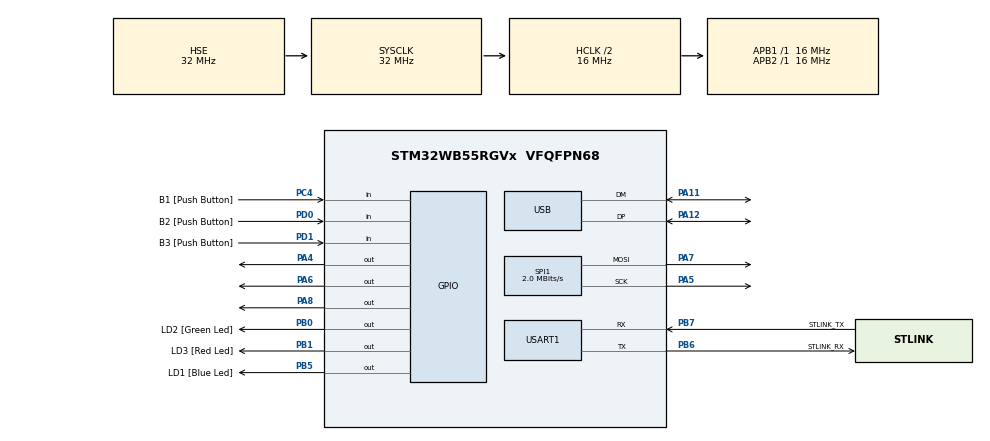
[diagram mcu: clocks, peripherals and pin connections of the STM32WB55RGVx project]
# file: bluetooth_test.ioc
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Mcu.Family=STM32WB
Mcu.Name=STM32WB55RGVx
Mcu.Package=VFQFPN68
NVIC.PriorityGroup=NVIC_PRIORITYGROUP_4
NVIC.RTC_WKUP_IRQn=true\:1\:0\:true\:true\:true\:1\:true\:true\:true
OSC_IN.Mode=HSE-External-Oscillator
OSC_IN.Signal=RCC_OSC_IN
OSC_OUT.Mode=HSE-External-Oscillator
OSC_OUT.Signal=RCC_OSC_OUT
PA11.Mode=Device
PA11.Signal=USB_DM
PA12.Mode=Device
PA12.Signal=USB_DP
PA13.GPIO_Label=JTMS
PA13.Mode=Trace_Asynchronous_SW
PA13.Signal=SYS_JTMS-SWDIO
PA14.GPIO_Label=JTCK
PA14.Mode=Trace_Asynchronous_SW
PA14.Signal=SYS_JTCK-SWCLK
PA4.Signal=GPIO_Output
PA5.Mode=TX_Only_Simplex_Unidirect_Master
PA5.Signal=SPI1_SCK
PA6.Signal=GPIO_Output
PA7.Mode=TX_Only_Simplex_Unidirect_Master
PA7.Signal=SPI1_MOSI
PA8.Signal=GPIO_Output
PB0.GPIO_Label=LD2 [Green Led]
PB0.Signal=GPIO_Output
PB1.GPIO_Label=LD3 [Red Led]
PB1.Signal=GPIO_Output
PB3.GPIO_Label=JTDO
PB3.Mode=Trace_Asynchronous_SW
PB3.Signal=SYS_JTDO-SWO
PB5.GPIO_Label=LD1 [Blue Led]
PB5.Signal=GPIO_Output
PB6.GPIO_Label=STLINK_RX
PB6.GPIO_PuPd=GPIO_PULLUP
PB6.Mode=Asynchronous
PB6.Signal=USART1_TX
PB7.GPIO_Label=STLINK_TX
PB7.GPIO_PuPd=GPIO_PULLUP
PB7.Mode=Asynchronous
PB7.Signal=USART1_RX
PC13.Mode=SYS_WakeUp1
PC13.Signal=SYS_WKUP2
PC14-OSC32_IN.Mode=LSE-External-Oscillator
PC14-OSC32_IN.Signal=RCC_OSC32_IN
PC15-OSC32_OUT.Mode=LSE-External-Oscillator
PC15-OSC32_OUT.Signal=RCC_OSC32_OUT
PC4.GPIO_Label=B1 [Push Button]
PC4.Signal=GPIO_Input
PD0.GPIO_Label=B2 [Push Button]
PD0.Signal=GPIO_Input
PD1.GPIO_Label=B3 [Push Button]
PD1.Signal=GPIO_Input
ProjectManager.HeapSize=0x200
ProjectManager.StackSize=0x400
ProjectManager.TargetToolchain=STM32CubeIDE
RCC.ADCFreq_Value=48000000
RCC.AHBCLKDivider=RCC_SYSCLK_DIV2
RCC.AHBFreq_Value=16000000
RCC.APB1Freq_Value=16000000
RCC.APB1TimFreq_Value=16000000
RCC.APB2Freq_Value=16000000
RCC.APB2TimFreq_Value=16000000
RCC.APB3Freq_Value=16000000
RCC.CortexFreq_Value=16000000
RCC.HCLKFreq_Value=16000000
RCC.HSE_VALUE=32000000
RCC.HSI48_VALUE=48000000
RCC.HSI_VALUE=16000000
RCC.LPTIM1CLockSelection=RCC_LPTIM1CLKSOURCE_LSI
RCC.LSE_Drive_Capability=RCC_LSEDRIVE_LOW
RCC.PLLN=32
RCC.PLLSAI1N=24
RCC.RTCClockSelection=RCC_RTCCLKSOURCE_LSE
RCC.SMPSCLockSelectionVirtual=RCC_SMPSCLKSOURCE_HSI
RCC.SMPSCLockSelectionVirtualVirtual=RCC_SMPSCLKSOURCE_HSI
RCC.SMPSDivider=1
RCC.SYSCLKFreq_VALUE=32000000
RCC.SYSCLKSource=RCC_SYSCLKSOURCE_HSE
RCC.USBFreq_Value=48000000
RCC.VCOOutputFreq_Value=128000000
RTC.AsynchPrediv=127
RTC.Date=31
RTC.Hours=22
RTC.Minutes=15
RTC.WakeUpClock-WakeUp=RTC_WAKEUPCLOCK_CK_SPRE_16BITS
RTC.WeekDay=RTC_WEEKDAY_WEDNESDAY
RTC.Year=24
SPI1.BaudRatePrescaler=SPI_BAUDRATEPRESCALER_8
SPI1.CLKPhase=SPI_PHASE_1EDGE
SPI1.CLKPolarity=SPI_POLARITY_LOW
SPI1.CalculateBaudRate=2.0 MBits/s
SPI1.DataSize=SPI_DATASIZE_8BIT
SPI1.Direction=SPI_DIRECTION_2LINES
SPI1.FirstBit=SPI_FIRSTBIT_MSB
SPI1.Mode=SPI_MODE_MASTER
SPI1.NSSPMode=SPI_NSS_PULSE_DISABLE
SPI1.VirtualType=VM_MASTER
USART1.VirtualMode-Asynchronous=VM_ASYNC
USART1.WordLength=WORDLENGTH_7B
VP_MEMORYMAP_VS_MEMORYMAP.Mode=CurAppReg
VP_RTC_VS_RTC_Activate.Mode=RTC_Enabled
VP_RTC_VS_RTC_Calendar.Mode=RTC_Calendar
VP_RTC_VS_RTC_WakeUp_intern.Mode=WakeUp
board=NUCLEO-WB55RG

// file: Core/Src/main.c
/* USER CODE BEGIN Header */
/**
  ******************************************************************************
  * @file           : main.c
  * @brief          : Main program body
  ******************************************************************************
  * @attention
  *
  * Copyright (c) 2024 STMicroelectronics.
  * All rights reserved.
  *
  * This software is licensed under terms that can be found in the LICENSE file
  * in the root directory of this software component.
  * If no LICENSE file comes with this software, it is provided AS-IS.
  *
  ******************************************************************************
  */
/* USER CODE END Header */
#include "main.h"

/* USER CODE BEGIN Includes */
#include "sharp_memory_display.h"
#include <stdio.h>
#include "watch_fonts.h"
/* USER CODE END Includes */

RTC_HandleTypeDef hrtc;

SPI_HandleTypeDef hspi1;

UART_HandleTypeDef huart1;

PCD_HandleTypeDef hpcd_USB_FS;

/* USER CODE BEGIN PV */
uint32_t uptime = 0;

/*void HAL_LPTIM_AutoReloadMatchCallback(LPTIM_HandleTypeDef *hlptim)
{
	if (hlptim->Instance == LPTIM1)
	{
	  // Code to execute when LPTIM1 counter reaches the autoreload value
		BLUE_LED_ON();
		uptime++;
		numToString(30, 140, uptime, "lu", 1);
		updateDisplay(140, 188);
	}
}*/

/* USER CODE END PV */

void SystemClock_Config(void);
void PeriphCommonClock_Config(void);
static void MX_GPIO_Init(void);
static void MX_USART1_UART_Init(void);
static void MX_USB_PCD_Init(void);
static void MX_SPI1_Init(void);
static void MX_RTC_Init(void);
static void MX_NVIC_Init(void);
/* USER CODE BEGIN PFP */

void HAL_RTCEx_WakeUpTimerEventCallback(RTC_HandleTypeDef *hrtc)
{
    // Actions to be taken every second
	/*SystemClock_Config();
	BLUE_LED_ON();
	uptime++;
	uint32_t startTime = HAL_GetTick();
	//numToString(30, 140, uptime, "lu", 1);
	drawString(30, 88, "Schnuffi", 1);
	numToString(30, 40, startTime, "lu", 1);
	updateDisplay(40, 134);
	uint32_t stopTime = HAL_GetTick() - startTime;
	numToString(30, 136, stopTime, "lu", 1);
	updateDisplay(136, 185);*/

	setFont(&k2d_extrabold_64);
	//drawPolygon(50, 50, 120, 30, 200, 50, 100, 80, 1);
	//drawThickLine(50, 50, 120, 120, 10, 1);
	drawRectangle(80, 50, 100, 50, 10, 1);
	updateDisplay(28, 130);

	/*uint32_t startTime = HAL_GetTick();
	drawLine_H(106, 50, 64, 1);
	drawLine_H(105, 52, 65, 1); // bad
	drawLine_H(104, 54, 66, 1);
	drawLine_H(103, 56, 67, 1);
	drawLine_H(102, 58, 68, 1);
	drawLine_H(101, 60, 69, 1);
	drawLine_H(100, 62, 70, 1);
	drawLine_H(99, 64, 71, 1);
	drawLine_H(98, 66, 72, 1);
	drawLine_H(97, 68, 73, 1); // bad
	drawLine_H(96, 70, 74, 1);
	startTime = HAL_GetTick() - startTime;
	setFont(&k2d_bold_48);
	numToString(96, 80, startTime, "lu", 1);

	uint32_t startTime1 = HAL_GetTick();
	drawShortLine_H(96, 28, 74, 1);
	drawShortLine_H(97, 30, 73, 1); // bad
	drawShortLine_H(98, 32, 72, 1);
	drawShortLine_H(99, 34, 71, 1);
	drawShortLine_H(100, 36, 70, 1);
	drawShortLine_H(101, 38, 69, 1);
	drawShortLine_H(102, 40, 68, 1);
	drawShortLine_H(103, 42, 67, 1);
	drawShortLine_H(104, 44, 66, 1);
	drawShortLine_H(105, 46, 65, 1); // bad
	drawShortLine_H(106, 48, 64, 1);
	startTime1 = HAL_GetTick() - startTime1;
	numToString(140, 80, startTime1, "lu", 1);
	updateDisplay(28, 130);*/

	/*drawLine_H(70, 28, 100, 1);
	drawLine_V(68, 30, 100, 1);
	uint32_t startTime = HAL_GetTick();
	fillRectangle(70, 30, 100, 100, 1);
	startTime = HAL_GetTick() - startTime;
	//updateDisplay(28, 130);
	numToString(30, 140, startTime, "lu", 1);
	//updateDisplay(140, 190);
	invertDisplayBuffer();
	sendToDisplay();*/
}

/* USER CODE END PFP */

int main(void)
{

  /* MCU Configuration--------------------------------------------------------*/

  /* Reset of all peripherals, Initializes the Flash interface and the Systick. */
  HAL_Init();

  /* Configure the system clock */
  SystemClock_Config();

/* Configure the peripherals common clocks */
  PeriphCommonClock_Config();

  /* Initialize all configured peripherals */
  MX_GPIO_Init();
  MX_USART1_UART_Init();
  MX_USB_PCD_Init();
  MX_SPI1_Init();
  MX_RTC_Init();

  /* Initialize interrupts */
  MX_NVIC_Init();
  /* USER CODE BEGIN 2 */
  init_display();
  initDisplayBuffer();
  clearDisplay();

  //uint32_t startTime = 0;
  //startTime = HAL_GetTick();
  char str[12];
  uint32_t startTime1 = 0;
  char str1[12];
  char str2[12];
  int vcom_bit = 0;
  uint32_t counterValue = 0;
  int counter = 1024;

  /* USER CODE END 2 */

  /* Infinite loop */
  /* USER CODE BEGIN WHILE */
  while (1)
  {
	  GREEN_LED_ON();
	  BLUE_LED_OFF();
	  //HAL_PWR_EnterSLEEPMode(PWR_MAINREGULATOR_ON, PWR_STOPENTRY_WFI);
	  //HAL_PWREx_EnterSTOP2Mode(PWR_STOPENTRY_WFI);
	  //HAL_PWREx_EnterSTOP0Mode(PWR_STOPENTRY_WFI);

	  /*if (HAL_LPTIM_ReadCounter(&hlptim1) >= counter) {
		  uptime++;
		  counter += 1024;
		  numToString(30, 140, uptime, "lu", 1);
		  updateDisplay(140, 188);
		  if (counter == 61440) {
			  counter = 1024;
			  if (HAL_LPTIM_Counter_Stop(&hlptim1) != HAL_OK)
			  {
			      // Handling the error if the timer doesn't stop properly
			      Error_Handler();
			  }
			  if (HAL_LPTIM_Counter_Start(&hlptim1, 0xFFFF) != HAL_OK)
			  {
			      // Handling the error if the timer doesn't start properly
			      Error_Handler();
			  }
		  }
	  }*/
	  /*
	  if (HAL_GetTick() - startTime >= interval) {

		 startTime1 = HAL_GetTick();
		 drawString(30, 60, "Schnuffi", 1);
		 drawString(30, 100, "Schnuffi", 1);
		 //numToString(30, 140, vcom_bit, "u", 1);
		 startTime1 = HAL_GetTick() - startTime1;
		 numToString(80, 20, startTime1, "lu", 1);
		 startTime = HAL_GetTick();
		 //sendToDisplay();
		 updateDisplay(30, 148);
		 HAL_Delay(16);
	  }*/
    /* USER CODE END WHILE */

  }
}

void SystemClock_Config(void)
{
  RCC_OscInitTypeDef RCC_OscInitStruct = {0};
  RCC_ClkInitTypeDef RCC_ClkInitStruct = {0};

  /** Macro to configure the PLL multiplication factor
  */
  __HAL_RCC_PLL_PLLM_CONFIG(RCC_PLLM_DIV1);

  /** Macro to configure the PLL clock source
  */
  __HAL_RCC_PLL_PLLSOURCE_CONFIG(RCC_PLLSOURCE_MSI);

  /** Configure LSE Drive Capability
  */
  HAL_PWR_EnableBkUpAccess();
  __HAL_RCC_LSEDRIVE_CONFIG(RCC_LSEDRIVE_LOW);

  /** Configure the main internal regulator output voltage
  */
  __HAL_PWR_VOLTAGESCALING_CONFIG(PWR_REGULATOR_VOLTAGE_SCALE1);

  /** Initializes the RCC Oscillators according to the specified parameters
  * in the RCC_OscInitTypeDef structure.
  */
  RCC_OscInitStruct.OscillatorType = RCC_OSCILLATORTYPE_HSI|RCC_OSCILLATORTYPE_HSE
                              |RCC_OSCILLATORTYPE_LSE|RCC_OSCILLATORTYPE_MSI;
  RCC_OscInitStruct.HSEState = RCC_HSE_ON;
  RCC_OscInitStruct.LSEState = RCC_LSE_ON;
  RCC_OscInitStruct.HSIState = RCC_HSI_ON;
  RCC_OscInitStruct.MSIState = RCC_MSI_ON;
  RCC_OscInitStruct.HSICalibrationValue = RCC_HSICALIBRATION_DEFAULT;
  RCC_OscInitStruct.MSICalibrationValue = RCC_MSICALIBRATION_DEFAULT;
  RCC_OscInitStruct.MSIClockRange = RCC_MSIRANGE_6;
  RCC_OscInitStruct.PLL.PLLState = RCC_PLL_NONE;
  if (HAL_RCC_OscConfig(&RCC_OscInitStruct) != HAL_OK)
  {
    Error_Handler();
  }

  /** Configure the SYSCLKSource, HCLK, PCLK1 and PCLK2 clocks dividers
  */
  RCC_ClkInitStruct.ClockType = RCC_CLOCKTYPE_HCLK4|RCC_CLOCKTYPE_HCLK2
                              |RCC_CLOCKTYPE_HCLK|RCC_CLOCKTYPE_SYSCLK
                              |RCC_CLOCKTYPE_PCLK1|RCC_CLOCKTYPE_PCLK2;
  RCC_ClkInitStruct.SYSCLKSource = RCC_SYSCLKSOURCE_HSE;
  RCC_ClkInitStruct.AHBCLKDivider = RCC_SYSCLK_DIV2;
  RCC_ClkInitStruct.APB1CLKDivider = RCC_HCLK_DIV1;
  RCC_ClkInitStruct.APB2CLKDivider = RCC_HCLK_DIV1;
  RCC_ClkInitStruct.AHBCLK2Divider = RCC_SYSCLK_DIV1;
  RCC_ClkInitStruct.AHBCLK4Divider = RCC_SYSCLK_DIV1;

  if (HAL_RCC_ClockConfig(&RCC_ClkInitStruct, FLASH_LATENCY_1) != HAL_OK)
  {
    Error_Handler();
  }

  /** Enable MSI Auto calibration
  */
  HAL_RCCEx_EnableMSIPLLMode();
}

void PeriphCommonClock_Config(void)
{
  RCC_PeriphCLKInitTypeDef PeriphClkInitStruct = {0};

  /** Initializes the peripherals clock
  */
  PeriphClkInitStruct.PeriphClockSelection = RCC_PERIPHCLK_SMPS;
  PeriphClkInitStruct.SmpsClockSelection = RCC_SMPSCLKSOURCE_HSI;
  PeriphClkInitStruct.SmpsDivSelection = RCC_SMPSCLKDIV_RANGE0;

  if (HAL_RCCEx_PeriphCLKConfig(&PeriphClkInitStruct) != HAL_OK)
  {
    Error_Handler();
  }
}

/**
  * @brief NVIC Configuration.
  * @retval None
  */
static void MX_NVIC_Init(void)
{
  /* RTC_WKUP_IRQn interrupt configuration */
  HAL_NVIC_SetPriority(RTC_WKUP_IRQn, 1, 0);
  HAL_NVIC_EnableIRQ(RTC_WKUP_IRQn);
}

static void MX_RTC_Init(void)
{

  RTC_TimeTypeDef sTime = {0};
  RTC_DateTypeDef sDate = {0};

  /** Initialize RTC Only
  */
  hrtc.Instance = RTC;
  hrtc.Init.HourFormat = RTC_HOURFORMAT_24;
  hrtc.Init.AsynchPrediv = 127;
  hrtc.Init.SynchPrediv = 255;
  hrtc.Init.OutPut = RTC_OUTPUT_DISABLE;
  hrtc.Init.OutPutPolarity = RTC_OUTPUT_POLARITY_HIGH;
  hrtc.Init.OutPutType = RTC_OUTPUT_TYPE_OPENDRAIN;
  hrtc.Init.OutPutRemap = RTC_OUTPUT_REMAP_NONE;
  if (HAL_RTC_Init(&hrtc) != HAL_OK)
  {
    Error_Handler();
  }

  /** Initialize RTC and set the Time and Date
  */
  sTime.Hours = 0x22;
  sTime.Minutes = 0x15;
  sTime.Seconds = 0x0;
  sTime.SubSeconds = 0x0;
  sTime.DayLightSaving = RTC_DAYLIGHTSAVING_NONE;
  sTime.StoreOperation = RTC_STOREOPERATION_RESET;
  if (HAL_RTC_SetTime(&hrtc, &sTime, RTC_FORMAT_BCD) != HAL_OK)
  {
    Error_Handler();
  }
  sDate.WeekDay = RTC_WEEKDAY_WEDNESDAY;
  sDate.Month = RTC_MONTH_JANUARY;
  sDate.Date = 0x31;
  sDate.Year = 0x24;

  if (HAL_RTC_SetDate(&hrtc, &sDate, RTC_FORMAT_BCD) != HAL_OK)
  {
    Error_Handler();
  }

  /** Enable the WakeUp
  */
  if (HAL_RTCEx_SetWakeUpTimer_IT(&hrtc, 0, RTC_WAKEUPCLOCK_CK_SPRE_16BITS) != HAL_OK)
  {
    Error_Handler();
  }

}

static void MX_SPI1_Init(void)
{

  /* SPI1 parameter configuration*/
  hspi1.Instance = SPI1;
  hspi1.Init.Mode = SPI_MODE_MASTER;
  hspi1.Init.Direction = SPI_DIRECTION_2LINES;
  hspi1.Init.DataSize = SPI_DATASIZE_8BIT;
  hspi1.Init.CLKPolarity = SPI_POLARITY_LOW;
  hspi1.Init.CLKPhase = SPI_PHASE_1EDGE;
  hspi1.Init.NSS = SPI_NSS_SOFT;
  hspi1.Init.BaudRatePrescaler = SPI_BAUDRATEPRESCALER_8;
  hspi1.Init.FirstBit = SPI_FIRSTBIT_MSB;
  hspi1.Init.TIMode = SPI_TIMODE_DISABLE;
  hspi1.Init.CRCCalculation = SPI_CRCCALCULATION_DISABLE;
  hspi1.Init.CRCPolynomial = 7;
  hspi1.Init.CRCLength = SPI_CRC_LENGTH_DATASIZE;
  hspi1.Init.NSSPMode = SPI_NSS_PULSE_DISABLE;
  if (HAL_SPI_Init(&hspi1) != HAL_OK)
  {
    Error_Handler();
  }

}

static void MX_USART1_UART_Init(void)
{

  huart1.Instance = USART1;
  huart1.Init.BaudRate = 115200;
  huart1.Init.WordLength = UART_WORDLENGTH_7B;
  huart1.Init.StopBits = UART_STOPBITS_1;
  huart1.Init.Parity = UART_PARITY_NONE;
  huart1.Init.Mode = UART_MODE_TX_RX;
  huart1.Init.HwFlowCtl = UART_HWCONTROL_NONE;
  huart1.Init.OverSampling = UART_OVERSAMPLING_16;
  huart1.Init.OneBitSampling = UART_ONE_BIT_SAMPLE_DISABLE;
  huart1.Init.ClockPrescaler = UART_PRESCALER_DIV1;
  huart1.AdvancedInit.AdvFeatureInit = UART_ADVFEATURE_NO_INIT;
  if (HAL_UART_Init(&huart1) != HAL_OK)
  {
    Error_Handler();
  }
  if (HAL_UARTEx_SetTxFifoThreshold(&huart1, UART_TXFIFO_THRESHOLD_1_8) != HAL_OK)
  {
    Error_Handler();
  }
  if (HAL_UARTEx_SetRxFifoThreshold(&huart1, UART_RXFIFO_THRESHOLD_1_8) != HAL_OK)
  {
    Error_Handler();
  }
  if (HAL_UARTEx_DisableFifoMode(&huart1) != HAL_OK)
  {
    Error_Handler();
  }

}

static void MX_USB_PCD_Init(void)
{

  hpcd_USB_FS.Instance = USB;
  hpcd_USB_FS.Init.dev_endpoints = 8;
  hpcd_USB_FS.Init.speed = PCD_SPEED_FULL;
  hpcd_USB_FS.Init.phy_itface = PCD_PHY_EMBEDDED;
  hpcd_USB_FS.Init.Sof_enable = DISABLE;
  hpcd_USB_FS.Init.low_power_enable = DISABLE;
  hpcd_USB_FS.Init.lpm_enable = DISABLE;
  hpcd_USB_FS.Init.battery_charging_enable = DISABLE;
  if (HAL_PCD_Init(&hpcd_USB_FS) != HAL_OK)
  {
    Error_Handler();
  }

}

static void MX_GPIO_Init(void)
{
  GPIO_InitTypeDef GPIO_InitStruct = {0};

  /* GPIO Ports Clock Enable */
  __HAL_RCC_GPIOC_CLK_ENABLE();
  __HAL_RCC_GPIOA_CLK_ENABLE();
  __HAL_RCC_GPIOB_CLK_ENABLE();
  __HAL_RCC_GPIOD_CLK_ENABLE();

  /*Configure GPIO pin Output Level */
  HAL_GPIO_WritePin(GPIOA, GPIO_PIN_4|GPIO_PIN_6|GPIO_PIN_8, GPIO_PIN_RESET);

  /*Configure GPIO pin Output Level */
  HAL_GPIO_WritePin(GPIOB, LD2_Pin|LD3_Pin|LD1_Pin, GPIO_PIN_RESET);

  /*Configure GPIO pins : PA4 PA6 PA8 */
  GPIO_InitStruct.Pin = GPIO_PIN_4|GPIO_PIN_6|GPIO_PIN_8;
  GPIO_InitStruct.Mode = GPIO_MODE_OUTPUT_PP;
  GPIO_InitStruct.Pull = GPIO_NOPULL;
  GPIO_InitStruct.Speed = GPIO_SPEED_FREQ_LOW;
  HAL_GPIO_Init(GPIOA, &GPIO_InitStruct);

  /*Configure GPIO pin : B1_Pin */
  GPIO_InitStruct.Pin = B1_Pin;
  GPIO_InitStruct.Mode = GPIO_MODE_INPUT;
  GPIO_InitStruct.Pull = GPIO_NOPULL;
  HAL_GPIO_Init(B1_GPIO_Port, &GPIO_InitStruct);

  /*Configure GPIO pins : LD2_Pin LD3_Pin LD1_Pin */
  GPIO_InitStruct.Pin = LD2_Pin|LD3_Pin|LD1_Pin;
  GPIO_InitStruct.Mode = GPIO_MODE_OUTPUT_PP;
  GPIO_InitStruct.Pull = GPIO_NOPULL;
  GPIO_InitStruct.Speed = GPIO_SPEED_FREQ_LOW;
  HAL_GPIO_Init(GPIOB, &GPIO_InitStruct);

  /*Configure GPIO pins : B2_Pin B3_Pin */
  GPIO_InitStruct.Pin = B2_Pin|B3_Pin;
  GPIO_InitStruct.Mode = GPIO_MODE_INPUT;
  GPIO_InitStruct.Pull = GPIO_NOPULL;
  HAL_GPIO_Init(GPIOD, &GPIO_InitStruct);

}

void Error_Handler(void)
{
  __disable_irq();
  while (1)
  {
  }
}
